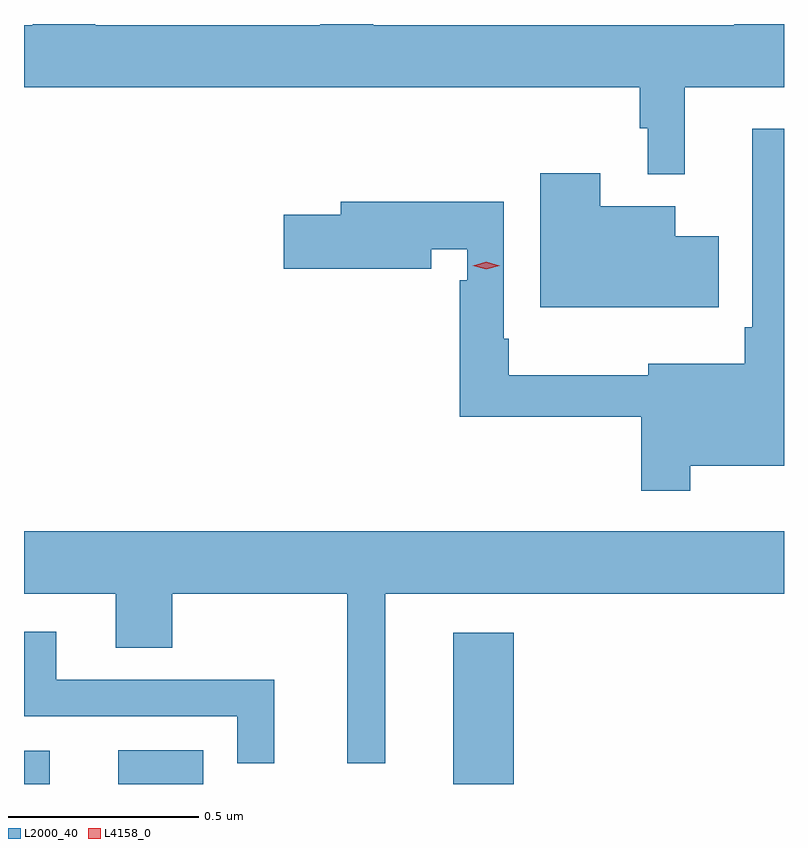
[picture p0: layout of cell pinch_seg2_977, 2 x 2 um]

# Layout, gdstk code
import gdstk
lib = gdstk.Library(unit=1e-6, precision=1e-09)
def R(c, l, rs):  # rectangles x0, y0, x1, y1
    for r in rs: c.add(gdstk.rectangle(r[:2], r[2:], *l))
def P(c, l, *ps):  # polygons
    for p in ps: c.add(gdstk.Polygon(p, *l))
L2000_40 = (2000, 40)
L4158_0 = (4158, 0)

pinch_seg2_977 = lib.new_cell('pinch_seg2_977')
R(pinch_seg2_977, L2000_40, [(336.702,647.135,336.77,647.223), (336.95,647.135,337.174,647.224), (337.832,647.135,337.991,647.533)])
P(pinch_seg2_977, L2000_40, [(338.441,648.968),(338.702,648.968),(338.702,649.135),(338.571,649.135),(338.571,649.132),(337.621,649.132),(337.621,649.135),(337.481,649.135),(337.481,649.132),(336.889,649.132),(336.889,649.135),(336.725,649.135),(336.725,649.132),(336.702,649.132),(336.702,648.968),(338.323,648.968),(338.323,648.861),(338.343,648.861),(338.343,648.74),(338.441,648.74)],
  [(338.455,647.972),(338.702,647.972),(338.702,648.859),(338.619,648.859),(338.619,648.337),(338.599,648.337),(338.599,648.241),(338.345,648.241),(338.345,648.211),(337.978,648.211),(337.978,648.307),(337.965,648.307),(337.965,648.667),(337.535,648.667),(337.535,648.633),(337.386,648.633),(337.386,648.491),(337.774,648.491),(337.774,648.542),(337.869,648.542),(337.869,648.461),(337.849,648.461),(337.849,648.102),(338.326,648.102),(338.326,647.907),(338.455,647.907)],
  [(338.53,648.577),(338.416,648.577),(338.416,648.655),(338.218,648.655),(338.218,648.742),(338.06,648.742),(338.06,648.389),(338.53,648.389)],
  [(337.652,647.636),(338.702,647.636),(338.702,647.8),(336.702,647.8),(336.702,647.636),(336.944,647.636),(336.944,647.494),(337.092,647.494),(337.092,647.636),(337.553,647.636),(337.553,647.19),(337.652,647.19)],
  [(337.361,647.409),(336.787,647.409),(336.787,647.536),(336.702,647.536),(336.702,647.313),(337.263,647.313),(337.263,647.19),(337.361,647.19)])
P(pinch_seg2_977, L4158_0, [(337.918,648.489),(337.883,648.499),(337.883,648.499),(337.883,648.499),(337.918,648.509),(337.954,648.499),(337.954,648.499),(337.954,648.499)])

lib.write_gds('pinch_seg2_977.gds')
